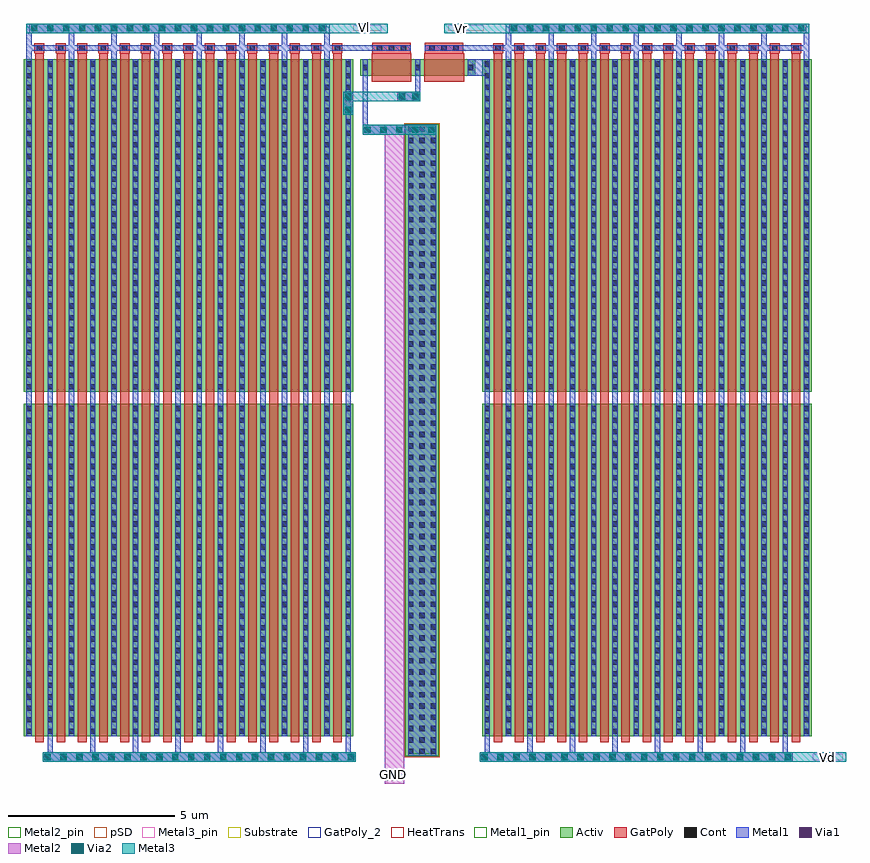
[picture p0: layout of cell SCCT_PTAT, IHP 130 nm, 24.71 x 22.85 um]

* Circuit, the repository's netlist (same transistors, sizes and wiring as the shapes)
** sch_path: /shared/designs/Layouts/ib_ctat_ptat/SCCT_PTAT.sch
.subckt SCCT_PTAT GND Vd Vr Vl
*.PININFO GND:B Vd:B Vr:B Vl:B
M7 Vd Vr net2 net1 sg13_lv_nmos w=0.5u l=1.2u ng=1 m=1
M10 net2 Vl GND net1 sg13_lv_nmos w=0.5u l=1.2u ng=1 m=1
M11 Vl Vl net2 net1 sg13_lv_nmos w=10u l=0.26u ng=1 m=30
M16 Vr Vr Vd net1 sg13_lv_nmos w=10u l=0.26u ng=1 m=30
R6 GND net1 ptap1 A=1.9e-11 P=4e-05
.ends

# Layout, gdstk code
from math import pi, radians
import gdstk
lib = gdstk.Library(unit=1e-6, precision=5e-09)
def R(c, l, rs):  # rectangles x0, y0, x1, y1
    for r in rs: c.add(gdstk.rectangle(r[:2], r[2:], *l))
def A(c, l, x, y, w, h, nx, ny, dx, dy):  # array of equal rectangles
    R(c, l, [(x+i*dx, y+j*dy, x+i*dx+w, y+j*dy+h) for i in range(nx) for j in range(ny)])
Activ = (1, 0)
GatPoly = (5, 0)
GatPoly_2 = (5, 2)
Cont = (6, 0)
Metal1 = (8, 0)
Metal1_pin = (8, 2)
Metal2 = (10, 0)
Metal2_pin = (10, 2)
pSD = (14, 0)
Via1 = (19, 0)
Via2 = (29, 0)
Metal3 = (30, 0)
Metal3_pin = (30, 2)
Substrate = (40, 0)
HeatTrans = (51, 0)

nmos_1 = lib.new_cell('nmos$1')
R(nmos_1, Activ, [(0,0,0.3,0.3), (0,0,0.94,10), (0.64,0,0.94,0.3)])
R(nmos_1, GatPoly, [(0.34,-0.18,0.6,10.18)])
R(nmos_1, GatPoly_2, [(0.34,-0.18,0.6,10.18)])
A(nmos_1, Cont, 0.07, 0.07, 0.16, 0.16, 1, 4, 0, 0.345)
A(nmos_1, Cont, 0.71, 0.07, 0.16, 0.16, 1, 4, 0, 0.345)
A(nmos_1, Cont, 0.07, 1.455, 0.16, 0.16, 1, 3, 0, 0.345)
A(nmos_1, Cont, 0.71, 1.455, 0.16, 0.16, 1, 3, 0, 0.345)
A(nmos_1, Cont, 0.07, 2.495, 0.16, 0.16, 1, 4, 0, 0.345)
A(nmos_1, Cont, 0.71, 2.495, 0.16, 0.16, 1, 4, 0, 0.345)
A(nmos_1, Cont, 0.07, 3.88, 0.16, 0.16, 1, 3, 0, 0.345)
A(nmos_1, Cont, 0.71, 3.88, 0.16, 0.16, 1, 3, 0, 0.345)
A(nmos_1, Cont, 0.07, 4.92, 0.16, 0.16, 1, 4, 0, 0.345)
A(nmos_1, Cont, 0.71, 4.92, 0.16, 0.16, 1, 4, 0, 0.345)
A(nmos_1, Cont, 0.07, 6.305, 0.16, 0.16, 1, 3, 0, 0.345)
A(nmos_1, Cont, 0.71, 6.305, 0.16, 0.16, 1, 3, 0, 0.345)
A(nmos_1, Cont, 0.07, 7.345, 0.16, 0.16, 1, 4, 0, 0.345)
A(nmos_1, Cont, 0.71, 7.345, 0.16, 0.16, 1, 4, 0, 0.345)
A(nmos_1, Cont, 0.07, 8.73, 0.16, 0.16, 1, 3, 0, 0.345)
A(nmos_1, Cont, 0.71, 8.73, 0.16, 0.16, 1, 3, 0, 0.345)
R(nmos_1, Cont, [(0.07,9.77,0.23,9.93), (0.71,9.77,0.87,9.93)])
R(nmos_1, Metal1, [(0.07,0,0.23,10), (0.71,0,0.87,10)])
R(nmos_1, Metal1_pin, [(0.07,0,0.23,10), (0.71,0,0.87,10)])
R(nmos_1, HeatTrans, [(0.34,-0.18,0.6,10.18)])
nmos_1.add(gdstk.Label('nmos', (0.47,5), layer=63, texttype=0))
nmos_1.add(gdstk.Label('nmos', (0.47,5), layer=51, texttype=0))

via_stack = lib.new_cell('via_stack')
R(via_stack, Metal1, [(-4.465,-0.145,4.465,0.145)])
R(via_stack, Metal2, [(-4.465,-0.145,4.465,0.145)])
A(via_stack, Via1, -4.415, -0.095, 0.19, 0.19, 19, 1, 0.48, 0)
A(via_stack, Via2, -4.415, -0.095, 0.19, 0.19, 19, 1, 0.48, 0)
R(via_stack, Metal3, [(-4.465,-0.145,4.465,0.145)])

via_stack_1 = lib.new_cell('via_stack$1')
R(via_stack_1, Metal1, [(-4.705,-0.145,4.705,0.145)])
R(via_stack_1, Metal2, [(-4.705,-0.145,4.705,0.145)])
A(via_stack_1, Via1, -4.655, -0.095, 0.19, 0.19, 20, 1, 0.48, 0)
A(via_stack_1, Via2, -4.655, -0.095, 0.19, 0.19, 20, 1, 0.48, 0)
R(via_stack_1, Metal3, [(-4.705,-0.145,4.705,0.145)])

nmos_2 = lib.new_cell('nmos$2')
R(nmos_2, Activ, [(0,0,0.3,0.3), (0,0,1.88,0.5), (1.58,0,1.88,0.3)])
R(nmos_2, GatPoly, [(0.34,-0.18,1.54,0.68)])
R(nmos_2, GatPoly_2, [(0.34,-0.18,1.54,0.68)])
R(nmos_2, Cont, [(0.07,0.17,0.23,0.33), (1.65,0.17,1.81,0.33)])
R(nmos_2, Metal1, [(0.07,0,0.23,0.5), (1.65,0,1.81,0.5)])
R(nmos_2, Metal1_pin, [(0.07,0,0.23,0.5), (1.65,0,1.81,0.5)])
R(nmos_2, HeatTrans, [(0.34,-0.18,1.54,0.68)])
nmos_2.add(gdstk.Label('nmos', (0.94,0.25), layer=63, texttype=0))
nmos_2.add(gdstk.Label('nmos', (0.94,0.25), layer=51, texttype=0))

via_stack_2 = lib.new_cell('via_stack$2')
R(via_stack_2, Metal1, [(-0.35,-0.145,0.35,0.145)])
R(via_stack_2, Metal2, [(-0.35,-0.145,0.35,0.145)])
R(via_stack_2, Via1, [(-0.3,-0.095,-0.11,0.095), (0.11,-0.095,0.3,0.095)])
R(via_stack_2, Via2, [(-0.3,-0.095,-0.11,0.095), (0.11,-0.095,0.3,0.095)])
R(via_stack_2, Metal3, [(-0.35,-0.145,0.35,0.145)])

ptap1_1 = lib.new_cell('ptap1$1')
R(ptap1_1, Activ, [(0,0,1,19)])
A(ptap1_1, Cont, 0.08, 0.07, 0.16, 0.16, 3, 56, 0.34, 0.34)
R(ptap1_1, Metal1, [(0.08,0.02,0.92,18.98), (0.08,0.07,0.92,18.93)])
R(ptap1_1, Metal1_pin, [(0.08,0.07,0.92,18.93)])
R(ptap1_1, pSD, [(-0.03,-0.03,1.03,19.03)])
R(ptap1_1, Substrate, [(0,0,1,19)])
ptap1_1.add(gdstk.Label('sub!', (0.5,0.01), layer=63, texttype=0))
ptap1_1.add(gdstk.Label('sub!', (0.5,0.01), layer=40, texttype=0))

via_stack_5 = lib.new_cell('via_stack$5')
R(via_stack_5, Metal1, [(-0.145,-0.35,0.145,0.35)])
R(via_stack_5, Metal2, [(-0.145,-0.35,0.145,0.35)])
R(via_stack_5, Via1, [(-0.095,-0.3,0.095,-0.11), (-0.095,0.11,0.095,0.3)])
R(via_stack_5, Via2, [(-0.095,-0.3,0.095,-0.11), (-0.095,0.11,0.095,0.3)])
R(via_stack_5, Metal3, [(-0.145,-0.35,0.145,0.35)])

via_stack_3 = lib.new_cell('via_stack$3')
R(via_stack_3, Metal1, [(-1.105,-0.145,1.105,0.145)])
R(via_stack_3, Metal2, [(-1.105,-0.145,1.105,0.145)])
A(via_stack_3, Via1, -1.055, -0.095, 0.19, 0.19, 5, 1, 0.48, 0)
A(via_stack_3, Via2, -1.055, -0.095, 0.19, 0.19, 5, 1, 0.48, 0)
R(via_stack_3, Metal3, [(-1.105,-0.145,1.105,0.145)])

scct_ptat = lib.new_cell('SCCT_PTAT')
A(scct_ptat, GatPoly, -13.8, 20.575, 0.3, 0.3, 15, 1, 0.64, 0)
A(scct_ptat, GatPoly, -0.01, 20.575, 0.3, 0.3, 15, 1, 0.64, 0)
R(scct_ptat, GatPoly, [(-3.645,20.575,-2.485,20.88), (-2.065,20.575,-0.905,20.88)])
A(scct_ptat, Cont, -13.73, 20.645, 0.16, 0.16, 15, 1, 0.64, 0)
A(scct_ptat, Cont, -3.505, 20.645, 0.16, 0.16, 3, 1, 0.36, 0)
A(scct_ptat, Cont, -1.925, 20.645, 0.16, 0.16, 3, 1, 0.36, 0)
A(scct_ptat, Cont, 0.06, 20.645, 0.16, 0.16, 15, 1, 0.64, 0)
A(scct_ptat, Metal1, -13.405, -0.735, 0.16, 21.13, 8, 1, 1.28, 0)
A(scct_ptat, Metal1, -0.265, -0.735, 0.16, 21.13, 8, 1, 1.28, 0)
A(scct_ptat, Metal1, -14.045, 0.035, 0.16, 21.43, 8, 1, 1.28, 0)
A(scct_ptat, Metal1, 0.375, 0.035, 0.16, 21.43, 8, 1, 1.28, 0)
R(scct_ptat, Metal1, [(-3.935,18.125,-3.775,20.395), (-3.935,18.125,-1.88,18.415), (-2.355,19.125,-2.195,20.395), (-0.775,19.895,-0.105,20.395), (-14.045,20.645,-2.485,20.805), (-2.065,20.645,9.495,20.805), (-2.065,20.645,-0.905,20.805), (-14.045,21.175,-4.925,21.465), (0.375,21.175,9.495,21.465)])
R(scct_ptat, Metal2, [(-3.275,-1.385,-2.675,18.415)])
R(scct_ptat, Metal2_pin, [(-3.225,-1.28,-2.745,-0.985)])
R(scct_ptat, Metal3, [(-13.55,-0.735,-4.14,-0.445), (-0.41,-0.735,10.6,-0.445), (-4.51,19.125,-2.195,19.415), (-14.045,21.175,-3.175,21.465), (-1.485,21.175,9.495,21.465)])
R(scct_ptat, Metal3_pin, [(9.595,-0.69,10.5,-0.495), (-4.22,21.245,-3.375,21.415), (-1.36,21.245,-0.29,21.405)])
scct_ptat.add(gdstk.Reference(nmos_1, (-0.335,0.035)))
scct_ptat.add(gdstk.Reference(nmos_1, (0.305,0.035)))
scct_ptat.add(gdstk.Reference(nmos_1, (0.945,0.035)))
scct_ptat.add(gdstk.Reference(nmos_1, (1.585,0.035)))
scct_ptat.add(gdstk.Reference(nmos_1, (2.225,0.035)))
scct_ptat.add(gdstk.Reference(nmos_1, (2.865,0.035)))
scct_ptat.add(gdstk.Reference(nmos_1, (3.505,0.035)))
scct_ptat.add(gdstk.Reference(nmos_1, (4.145,0.035)))
scct_ptat.add(gdstk.Reference(nmos_1, (4.785,0.035)))
scct_ptat.add(gdstk.Reference(nmos_1, (5.425,0.035)))
scct_ptat.add(gdstk.Reference(nmos_1, (6.065,0.035)))
scct_ptat.add(gdstk.Reference(nmos_1, (6.705,0.035)))
scct_ptat.add(gdstk.Reference(nmos_1, (7.345,0.035)))
scct_ptat.add(gdstk.Reference(nmos_1, (7.985,0.035)))
scct_ptat.add(gdstk.Reference(nmos_1, (8.625,0.035)))
scct_ptat.add(gdstk.Reference(nmos_1, (-0.335,10.395)))
scct_ptat.add(gdstk.Reference(nmos_1, (0.305,10.395)))
scct_ptat.add(gdstk.Reference(nmos_1, (0.945,10.395)))
scct_ptat.add(gdstk.Reference(nmos_1, (1.585,10.395)))
scct_ptat.add(gdstk.Reference(nmos_1, (2.225,10.395)))
scct_ptat.add(gdstk.Reference(nmos_1, (2.865,10.395)))
scct_ptat.add(gdstk.Reference(nmos_1, (3.505,10.395)))
scct_ptat.add(gdstk.Reference(nmos_1, (4.145,10.395)))
scct_ptat.add(gdstk.Reference(nmos_1, (4.785,10.395)))
scct_ptat.add(gdstk.Reference(nmos_1, (5.425,10.395)))
scct_ptat.add(gdstk.Reference(nmos_1, (6.065,10.395)))
scct_ptat.add(gdstk.Reference(nmos_1, (6.705,10.395)))
scct_ptat.add(gdstk.Reference(nmos_1, (7.345,10.395)))
scct_ptat.add(gdstk.Reference(nmos_1, (7.985,10.395)))
scct_ptat.add(gdstk.Reference(nmos_1, (8.625,10.395)))
scct_ptat.add(gdstk.Reference(via_stack, (4.935,21.32)))
scct_ptat.add(gdstk.Reference(via_stack_1, (4.295,-0.59)))
scct_ptat.add(gdstk.Reference(nmos_2, (-2.425,19.895)))
scct_ptat.add(gdstk.Reference(via_stack_1, (-8.845,-0.59), rotation=pi, x_reflection=True))
scct_ptat.add(gdstk.Reference(via_stack, (-9.485,21.32), rotation=pi, x_reflection=True))
scct_ptat.add(gdstk.Reference(nmos_1, (-13.175,10.395), rotation=pi, x_reflection=True))
scct_ptat.add(gdstk.Reference(nmos_1, (-12.535,10.395), rotation=pi, x_reflection=True))
scct_ptat.add(gdstk.Reference(nmos_1, (-11.895,10.395), rotation=pi, x_reflection=True))
scct_ptat.add(gdstk.Reference(nmos_1, (-11.255,10.395), rotation=pi, x_reflection=True))
scct_ptat.add(gdstk.Reference(nmos_1, (-10.615,10.395), rotation=pi, x_reflection=True))
scct_ptat.add(gdstk.Reference(nmos_1, (-9.975,10.395), rotation=pi, x_reflection=True))
scct_ptat.add(gdstk.Reference(nmos_1, (-9.335,10.395), rotation=pi, x_reflection=True))
scct_ptat.add(gdstk.Reference(nmos_1, (-8.695,10.395), rotation=pi, x_reflection=True))
scct_ptat.add(gdstk.Reference(nmos_1, (-8.055,10.395), rotation=pi, x_reflection=True))
scct_ptat.add(gdstk.Reference(nmos_1, (-7.415,10.395), rotation=pi, x_reflection=True))
scct_ptat.add(gdstk.Reference(nmos_1, (-6.775,10.395), rotation=pi, x_reflection=True))
scct_ptat.add(gdstk.Reference(nmos_1, (-6.135,10.395), rotation=pi, x_reflection=True))
scct_ptat.add(gdstk.Reference(nmos_1, (-5.495,10.395), rotation=pi, x_reflection=True))
scct_ptat.add(gdstk.Reference(nmos_1, (-4.855,10.395), rotation=pi, x_reflection=True))
scct_ptat.add(gdstk.Reference(nmos_1, (-4.215,10.395), rotation=pi, x_reflection=True))
scct_ptat.add(gdstk.Reference(nmos_1, (-13.175,0.035), rotation=pi, x_reflection=True))
scct_ptat.add(gdstk.Reference(nmos_1, (-12.535,0.035), rotation=pi, x_reflection=True))
scct_ptat.add(gdstk.Reference(nmos_1, (-11.895,0.035), rotation=pi, x_reflection=True))
scct_ptat.add(gdstk.Reference(nmos_1, (-11.255,0.035), rotation=pi, x_reflection=True))
scct_ptat.add(gdstk.Reference(nmos_1, (-10.615,0.035), rotation=pi, x_reflection=True))
scct_ptat.add(gdstk.Reference(nmos_1, (-9.975,0.035), rotation=pi, x_reflection=True))
scct_ptat.add(gdstk.Reference(nmos_1, (-9.335,0.035), rotation=pi, x_reflection=True))
scct_ptat.add(gdstk.Reference(nmos_1, (-8.695,0.035), rotation=pi, x_reflection=True))
scct_ptat.add(gdstk.Reference(nmos_1, (-8.055,0.035), rotation=pi, x_reflection=True))
scct_ptat.add(gdstk.Reference(nmos_1, (-7.415,0.035), rotation=pi, x_reflection=True))
scct_ptat.add(gdstk.Reference(nmos_1, (-6.775,0.035), rotation=pi, x_reflection=True))
scct_ptat.add(gdstk.Reference(nmos_1, (-6.135,0.035), rotation=pi, x_reflection=True))
scct_ptat.add(gdstk.Reference(nmos_1, (-5.495,0.035), rotation=pi, x_reflection=True))
scct_ptat.add(gdstk.Reference(nmos_1, (-4.855,0.035), rotation=pi, x_reflection=True))
scct_ptat.add(gdstk.Reference(nmos_1, (-4.215,0.035), rotation=pi, x_reflection=True))
scct_ptat.add(gdstk.Reference(nmos_2, (-2.125,19.895), rotation=pi, x_reflection=True))
scct_ptat.add(gdstk.Reference(via_stack_2, (-2.545,19.27)))
scct_ptat.add(gdstk.Reference(ptap1_1, (-2.645,-0.565)))
scct_ptat.add(gdstk.Reference(via_stack_5, (-4.365,19.065)))
scct_ptat.add(gdstk.Reference(via_stack_3, (-2.83,18.27)))
scct_ptat.add(gdstk.Label('Vr', (-0.955,21.315), layer=30, texttype=25))
scct_ptat.add(gdstk.Label('Vd', (10.045,-0.6), layer=30, texttype=25))
scct_ptat.add(gdstk.Label('Vl', (-3.885,21.33), layer=30, texttype=25))
scct_ptat.add(gdstk.Label('GND', (-3.015,-1.125), layer=10, texttype=25))

lib.write_gds('SCCT_PTAT.gds')
